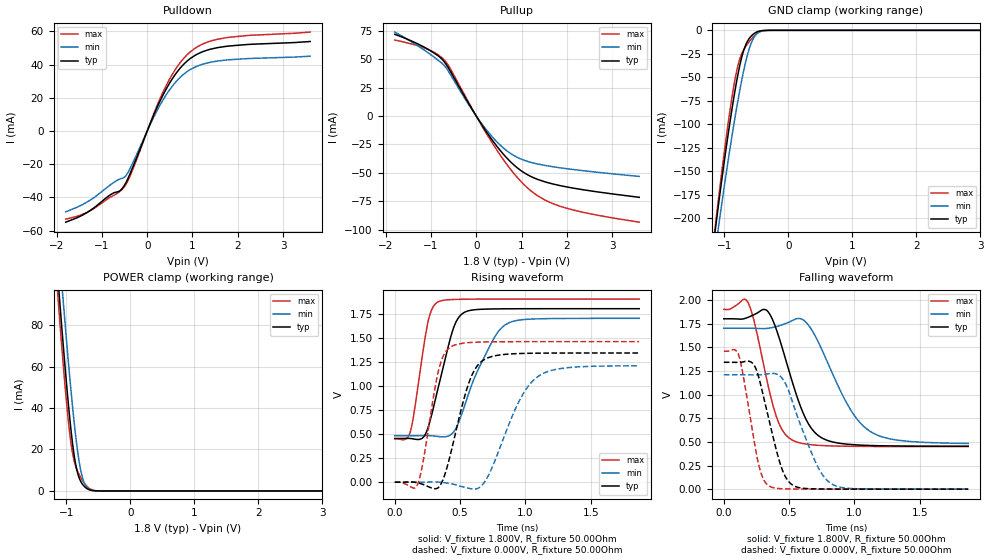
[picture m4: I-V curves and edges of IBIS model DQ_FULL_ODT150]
| [Disclaimer]  This software code and all associated documentation, comments
| or other information (collectively "Software") is provided
| "AS IS" without warranty of any kind. MICRON TECHNOLOGY, INC.
| ("MTI") EXPRESSLY DISCLAIMS ALL WARRANTIES EXPRESS OR IMPLIED,
| INCLUDING BUT NOT LIMITED TO, NONINFRINGEMENT OF THIRD PARTY
| RIGHTS, AND ANY IMPLIED WARRANTIES OF MERCHANTABILITY OR
| FITNESS FOR ANY PARTICULAR PURPOSE. MTI DOES NOT WARRANT THAT
| THE SOFTWARE WILL MEET YOUR REQUIREMENTS, OR THAT THE
| OPERATION OF THE SOFTWARE WILL BE UNINTERRUPTED OR ERROR-FREE.
| FURTHERMORE, MTI DOES NOT MAKE ANY REPRESENTATIONS REGARDING
| THE USE OR THE RESULTS OF THE USE OF THE SOFTWARE IN TERMS OF
| ITS CORRECTNESS, ACCURACY, RELIABILITY, OR OTHERWISE. THE
| ENTIRE RISK ARISING OUT OF USE OR PERFORMANCE OF THE SOFTWARE
| REMAINS WITH YOU. IN NO EVENT SHALL MTI, ITS AFFILIATED
| COMPANIES OR THEIR SUPPLIERS BE LIABLE FOR ANY DIRECT,
| INDIRECT, CONSEQUENTIAL, INCIDENTAL, OR SPECIAL DAMAGES
| (INCLUDING, WITHOUT LIMITATION, DAMAGES FOR LOSS OF PROFITS,
| BUSINESS INTERRUPTION, OR LOSS OF INFORMATION) ARISING OUT OF
| YOUR USE OF OR INABILITY TO USE THE SOFTWARE, EVEN IF MTI HAS
| BEEN ADVISED OF THE POSSIBILITY OF SUCH DAMAGES. Because some
| jurisdictions prohibit the exclusion or limitation of
| liability for consequential or incidental damages, the above
| limitation may not apply to you.
| [Copyright] Copyright 2003 Micron Technology, Inc. All rights reserved.
| From u26a.ibs, Micron Technology, Inc.
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| MODEL DQ_FULL_ODT150  (Full-Strength IO Driver with 150 Ohm ODT Submodel)
[Model]   DQ_FULL_ODT150
Model_type   I/O
Vinl = 650.000mV
Vinh = 1.150V
Vmeas = 900.000mV
Vref = 900.000mV
Cref = 0.0pF
Rref = 25.000Ohm
|   typ   min   max
C_comp   2.890pF   2.490pF   3.280pF
| Note: C_comp increases when the ODT circuit is enabled.
[Model Spec]
| Input threshold voltage corners
Vinl   0.650V   0.600V   0.700V
Vinh   1.150V   1.100V   1.200V
| Measurement voltage corners
Vmeas   0.900V   0.850V   0.950V
| Timing spec test load voltage corners
Vref   0.900V   0.850V   0.950V
[Receiver Thresholds]
Vth   =  0.900V
Vth_min  =  0.882V
Vth_max  =  0.918V
Vinh_ac  =  0.250V
Vinh_dc  =  0.125V
Vinl_ac  = -0.250V
Vinl_dc  = -0.125V
Tslew_ac =  5.000ns |Not specified, so set to high value
Threshold_sensitivity = 0.50
Reference_supply Pullup_ref
[Voltage Range]   1.800V   1.700V   1.900V
[Pullup Reference]   1.800V   1.700V   1.900V
| Junction Temperature (Ambient temp is 25C typ, 85C min, 0C max)
[Temperature Range]   40.0   100.0   0.0
[Add Submodel]
| Submodel Name   Mode
150ohm_ODT   Non-Driving
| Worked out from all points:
|   slope of the pulldown table from 0 to 0.27 V, typ, clamps not added: 15.6 ohm
|   slope of the pullup table from 0 to 0.27 V, typ, clamps not added: 16.3 ohm
|   GND clamp passes 1 mA (typ) near -0.46 V on its own axis
|   POWER clamp passes 1 mA (typ) near -0.67 V on its own axis
|   falling waveform, V_fixture 1.800V, R_fixture 50.00Ohm: 20-80 % time 196ps typ, 272ps min, 150ps max; typ from 1.8 V to 0.453 V
|   rising waveform, V_fixture 1.800V, R_fixture 50.00Ohm: 20-80 % time 147ps typ, 227ps min, 96.5ps max; typ from 0.453 V to 1.8 V
|   rising waveform, V_fixture 0.000V, R_fixture 50.00Ohm: 20-80 % time 157ps typ, 234ps min, 110ps max; typ from 0 V to 1.34 V
|   falling waveform, V_fixture 0.000V, R_fixture 50.00Ohm: 20-80 % time 144ps typ, 203ps min, 109ps max; typ from 1.34 V to 0 V
[Pulldown]
|   Voltage   I(typ)   I(min)   I(max)
-1.8V     -54.94mA   -48.72mA   -53.1mA
-1.28V    -48.27mA   -42mA      -48.34mA
-805mV    -38.26mA   -32.29mA   -39.69mA
-600mV    -35.93mA   -28.91mA   -36.26mA
-500mV    -32.56mA   -27.74mA   -33.39mA
-365mV    -24.81mA   -21.86mA   -26.28mA
350mV     21.71mA    18.74mA    23.47mA
655mV     35.37mA    30.25mA    38.41mA
955mV     43.71mA    37.05mA    47.74mA
1.24V     47.91mA    40.36mA    52.57mA
1.76V     51.03mA    42.77mA    56.24mA
3.6V      53.89mA    45.05mA    59.56mA
[GND Clamp]
|   Voltage   I(typ)   I(min)   I(max)
-1.8V     -595.2mA   -580.7mA   -638.4mA
-1.155V   -219.4mA   -240.6mA   -216mA
-1.13V    -205.9mA   -228.1mA   -201.2mA
-1.085V   -182.1mA   -206mA     -175.3mA
-920mV    -101mA     -129.3mA   -88.81mA
-805mV    -53.05mA   -81.27mA   -42.45mA
-750mV    -34.63mA   -60.57mA   -28.67mA
-675mV    -16.94mA   -35.88mA   -18.06mA
-595mV    -7.212mA   -16.23mA   -10.6mA
-515mV    -2.521mA   -5.206mA   -4.809mA
-300mV    -16.99uA   -64.95uA   -29.91uA
3.6V      0A         0A         0A
[Pullup]
|   Voltage   I(typ)   I(min)   I(max)
-1.8V     71.98mA    73.92mA    66.91mA
-1.055V   58.52mA    55.51mA    58.48mA
-700mV    47.38mA    44.19mA    48.99mA
-565mV    38.91mA    36.15mA    41.2mA
-125mV    8.248mA    7.448mA    8.932mA
175mV     -10.93mA   -9.608mA   -12.07mA
485mV     -28.1mA    -23.88mA   -31.76mA
820mV     -42.64mA   -34.5mA    -49.99mA
1.28V     -54.56mA   -41.53mA   -68.08mA
1.71V     -59.98mA   -44.75mA   -77.4mA
2.37V     -64.96mA   -48.17mA   -84.85mA
3.6V      -71.57mA   -53.18mA   -93.47mA
[POWER Clamp]
|   Voltage   I(typ)   I(min)   I(max)
-1.8V     395.7mA    409.1mA    394.8mA
-1.135V   104.1mA    125.2mA    94.99mA
-1.105V   92.18mA    113.4mA    82.84mA
-1.06V    74.74mA    95.99mA    65.25mA
-1.045V   69.08mA    90.3mA     59.63mA
-950mV    36.17mA    56.02mA    28.57mA
-910mV    24.73mA    42.88mA    19.51mA
-865mV    14.67mA    29.53mA    13.06mA
-775mV    4.603mA    9.939mA    6.442mA
-675mV    1.074mA    1.58mA     2.132mA
-436mV    0A         NA         NA
3.6V      0A         0A         0A
[Ramp]
R_load = 50.00Ohm
|   typ   min   max
dV/dt_r   804.315mV/156.543ps 724.837mV/233.664ps 874.907mV/109.614ps
dV/dt_f   807.960mV/196.190ps 730.308mV/271.655ps 869.794mV/149.516ps
[Falling Waveform]
V_fixture = 1.800V
V_fixture_min = 1.700V
V_fixture_max = 1.900V
R_fixture = 50.00Ohm
|   Time   V(typ)   V(min)   V(max)
0s        1.8V       1.7V       1.9V
180ps     1.812V     1.7V       1.986V
350ps     1.853V     1.702V     1.03V
430ps     1.57V      1.73V      670.6mV
520ps     1.152V     1.778V     521.9mV
610ps     794.8mV    1.786V     480.7mV
710ps     581.1mV    1.59V      464.6mV
940ps     475.7mV    911mV      453.6mV
1.1ns     462.4mV    629.4mV    451.6mV
1.87ns    453.4mV    482.8mV    450.4mV
[Rising Waveform]
V_fixture = 1.800V
V_fixture_min = 1.700V
V_fixture_max = 1.900V
R_fixture = 50.00Ohm
|   Time   V(typ)   V(min)   V(max)
0s        453.4mV    482.8mV    450.4mV
120ps     453.6mV    482.8mV    528.9mV
210ps     455.6mV    483.6mV    1.303V
250ps     548.2mV    483.7mV    1.637V
330ps     968.5mV    474.6mV    1.87V
430ps     1.516V     494.3mV    1.894V
490ps     1.712V     624.8mV    1.897V
660ps     1.794V     1.23V      1.9V
860ps     1.799V     1.644V     1.9V
1.87ns    1.8V       1.7V       1.9V
[Rising Waveform]
V_fixture = 0.000V
V_fixture_min = 0.000V
V_fixture_max = 0.000V
R_fixture = 50.00Ohm
|   Time   V(typ)   V(min)   V(max)
0s        -26.19uV   -34.73uV   -24.62uV
180ps     -7.931mV   -150.1uV   -4.442mV
330ps     -60.15mV   1.602mV    1.131V
370ps     29.35mV    -3.262mV   1.307V
430ps     311.2mV    -15.82mV   1.405V
570ps     1.043V     -63.8mV    1.449V
690ps     1.276V     8.116mV    1.455V
940ps     1.334V     809.5mV    1.458V
1.09ns    1.339V     1.091V     1.458V
1.87ns    1.34V      1.208V     1.458V
[Falling Waveform]
V_fixture = 0.000V
V_fixture_min = 0.000V
V_fixture_max = 0.000V
R_fixture = 50.00Ohm
|   Time   V(typ)   V(min)   V(max)
0s        1.34V      1.208V     1.458V
120ps     1.339V     1.208V     1.391V
240ps     1.291V     1.207V     448.3mV
290ps     1.058V     1.209V     149.6mV
350ps     708.6mV    1.221V     31.35mV
430ps     274.7mV    1.195V     5.472mV
500ps     74.64mV    1.024V     2.124mV
700ps     2.933mV    291.8mV    439.3uV
830ps     1.124mV    51.69mV    174.2uV
1.87ns    -26.19uV   -34.73uV   -24.62uV
